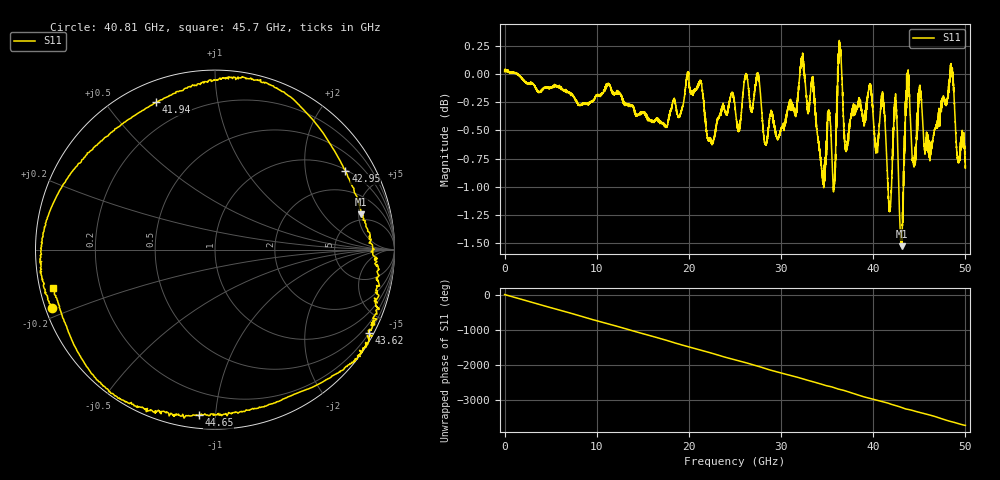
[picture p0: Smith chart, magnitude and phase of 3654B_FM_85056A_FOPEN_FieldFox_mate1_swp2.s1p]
!Created with skrf (http://scikit-rf.org).
# Hz S RI R 50.0
!freq ReS11 ImS11
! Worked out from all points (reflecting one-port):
!   10001 points, 300 kHz to 50 GHz, reference 50 ohm
!   lowest |S11| = -1.5 dB at 43.11 GHz (marker M1), VSWR 11.40, Z = 204 + j270 ohm
!   phase of S11 starts at 0 deg and turns -3733 deg over the sweep
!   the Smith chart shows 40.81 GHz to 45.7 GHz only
!   S11 on the Smith chart (normalised r, x): 40.81 GHz: 0.02, -0.17; 41.94 GHz: 0.09, +0.67; 42.95 GHz: 1.06, +3.29; 43.62 GHz: 0.22, -3.94; 44.65 GHz: 0.07, -0.90; 45.7 GHz: 0.04, -0.12
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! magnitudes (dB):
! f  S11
! 300 kHz  0.0
! 6.25 GHz  -0.1
! 12.5 GHz  -0.2
! 18.75 GHz  -0.4
! 25 GHz  -0.3
! 27.47 GHz  0.0
! 28.34 GHz  -0.6
! 31.25 GHz  -0.3
! 32.32 GHz  0.1
! 34.49 GHz  -0.9
! 35.2 GHz  -0.4
! 35.71 GHz  -1.0
! 36.38 GHz  0.2
! 37 GHz  -0.7
! 37.5 GHz  -0.4
! 40.81 GHz  -0.3
! 41.94 GHz  -1.1
! 42.43 GHz  -0.2
! 42.95 GHz  -1.4
! 43.11 GHz  -1.5
! 43.62 GHz  -0.2
! 43.75 GHz  -0.1
! 44.65 GHz  -0.7
! 45.09 GHz  -0.1
! 45.7 GHz  -0.7
! 48.46 GHz  0.0
! 49.17 GHz  -0.8
! 50 GHz  -0.8
